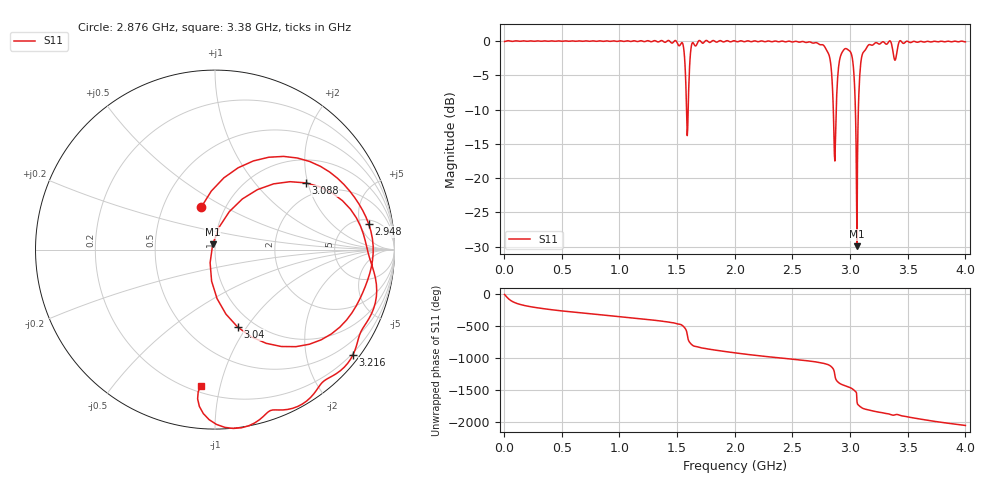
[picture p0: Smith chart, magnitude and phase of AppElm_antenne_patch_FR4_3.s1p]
! TOUCHSTONE file generated by CST MICROWAVE STUDIO
! Date and time: Tue Jun 14 11:27:48 2022
! Project name: AppElm_antenne_patch_FR4.cst
! Parameters = {L=45; W=49.725; e=0.035; h=1.6; lambda=0.190476; ls=120; w0=2.54; w1=0.847; ws=120; y0=18; y1=23.8}
! Header version: 2018
! Port assignment regex: !\s*Touchstone port\s*([0-9]+)\s*=\s*(CST MWS port|CST DS port)\s*([0-9]+|Zmin|Zmax)\s*\(\"(.*)\"\)(\s*mode\s*([0-9]+))?.*
! Touchstone port assignment:
! Touchstone port 1 = CST MWS port 1 ("")
# GHz S MA R 50
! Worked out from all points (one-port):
!   1000 points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, 4 MHz to 4 GHz, reference 50 ohm
!   lowest |S11| = -29.9 dB at 3.06 GHz (marker M1), VSWR 1.07, Z = 48.6 + j2.84 ohm
!   |S11| at or under -10 dB: 1.582 GHz to 1.596 GHz (14.09 MHz wide, 0.887 % of centre); 2.854 GHz to 2.88 GHz (25.1 MHz wide, 0.876 % of centre); 3.046 GHz to 3.072 GHz (25.87 MHz wide, 0.846 % of centre)
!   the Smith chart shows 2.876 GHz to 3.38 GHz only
!   S11 on the Smith chart (normalised r, x): 2.876 GHz: 0.77, +0.39; 2.948 GHz: 6.01, +6.97; 3.04 GHz: 0.84, -0.91; 3.088 GHz: 1.58, +1.94; 3.216 GHz: 0.17, -2.96; 3.38 GHz: 0.24, -0.87
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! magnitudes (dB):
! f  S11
! 4 MHz  -0.1
! 504 MHz  0.0
! 1.004 GHz  0.0
! 1.504 GHz  -0.4
! 1.548 GHz  -0.3
! 1.588 GHz  -13.8
! 1.624 GHz  -0.7
! 1.64 GHz  -0.3
! 2.004 GHz  0.0
! 2.504 GHz  -0.1
! 2.792 GHz  -1.2
! 2.828 GHz  -2.8
! 2.86 GHz  -13.6
! 2.876 GHz  -12.1
! 2.908 GHz  -2.8
! 2.948 GHz  -1.2
! 3.004 GHz  -1.6
! 3.028 GHz  -3.7
! 3.04 GHz  -6.9
! 3.06 GHz  -29.9
! 3.076 GHz  -7.8
! 3.088 GHz  -4.0
! 3.12 GHz  -1.5
! 3.216 GHz  -0.3
! 3.344 GHz  0.0
! 3.38 GHz  -2.4
! 3.504 GHz  -0.1
! 4 GHz  -0.1
